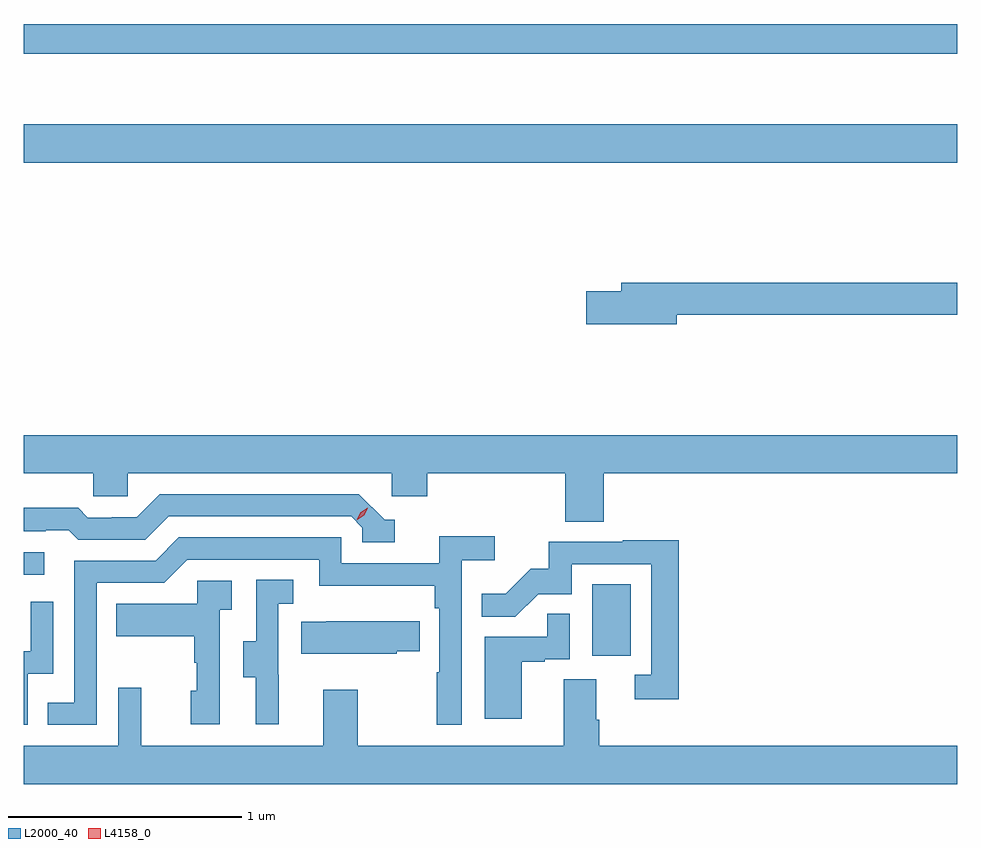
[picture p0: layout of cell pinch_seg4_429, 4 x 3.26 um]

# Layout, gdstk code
import gdstk
lib = gdstk.Library(unit=1e-6, precision=1e-09)
def R(c, l, rs):  # rectangles x0, y0, x1, y1
    for r in rs: c.add(gdstk.rectangle(r[:2], r[2:], *l))
def P(c, l, *ps):  # polygons
    for p in ps: c.add(gdstk.Polygon(p, *l))
L2000_40 = (2000, 40)
L4158_0 = (4158, 0)

pinch_seg4_429 = lib.new_cell('pinch_seg4_429')
R(pinch_seg4_429, L2000_40, [(917.276,777.39,917.44,777.697), (914.839,777.738,914.926,777.834), (914.839,779.504,918.839,779.668), (914.839,779.97,918.839,780.098)])
P(pinch_seg4_429, L2000_40, [(917.638,778.852),(918.839,778.852),(918.839,778.988),(917.399,778.988),(917.399,778.952),(917.25,778.952),(917.25,778.81),(917.638,778.81)],
  [(917.324,778.172),(918.839,778.172),(918.839,778.336),(914.839,778.336),(914.839,778.172),(915.135,778.172),(915.135,778.074),(915.285,778.074),(915.285,778.172),(916.416,778.172),(916.416,778.074),(916.568,778.074),(916.568,778.172),(917.159,778.172),(917.159,777.964),(917.324,777.964)],
  [(916.429,777.972),(916.386,777.972),(916.275,778.083),(915.422,778.083),(915.323,777.984),(915.216,777.984),(915.216,777.981),(915.113,777.981),(915.071,778.024),(914.839,778.024),(914.839,777.924),(914.933,777.924),(914.933,777.927),(915.032,777.927),(915.071,777.888),(915.36,777.888),(915.459,777.987),(916.242,777.987),(916.29,777.939),(916.29,777.876),(916.429,777.876)],
  [(915.15,777.702),(915.441,777.702),(915.54,777.801),(916.104,777.801),(916.104,777.689),(916.6,777.689),(916.6,777.593),(916.62,777.593),(916.62,777.32),(916.608,777.32),(916.608,777.093),(916.716,777.093),(916.716,777.8),(916.858,777.8),(916.858,777.902),(916.619,777.902),(916.619,777.786),(916.2,777.786),(916.2,777.897),(915.503,777.897),(915.404,777.798),(915.054,777.798),(915.054,777.189),(914.941,777.189),(914.941,777.093),(915.15,777.093)],
  [(917.645,777.884),(917.407,777.884),(917.407,777.879),(917.089,777.879),(917.089,777.762),(917.012,777.762),(916.905,777.655),(916.801,777.655),(916.801,777.556),(916.945,777.556),(917.043,777.654),(917.187,777.654),(917.187,777.783),(917.529,777.783),(917.529,777.309),(917.457,777.309),(917.457,777.204),(917.645,777.204)],
  [(915.932,777.309),(915.93,777.309),(915.93,777.613),(915.994,777.613),(915.994,777.716),(915.834,777.716),(915.834,777.453),(915.779,777.453),(915.779,777.298),(915.833,777.298),(915.833,777.096),(915.932,777.096)],
  [(915.678,777.587),(915.73,777.587),(915.73,777.711),(915.582,777.711),(915.582,777.613),(915.235,777.613),(915.235,777.473),(915.57,777.473),(915.57,777.359),(915.58,777.359),(915.58,777.24),(915.554,777.24),(915.554,777.096),(915.678,777.096)],
  [(914.856,777.312),(914.964,777.312),(914.964,777.622),(914.868,777.622),(914.868,777.41),(914.839,777.41),(914.839,777.093),(914.856,777.093)],
  [(916.972,777.363),(917.072,777.363),(917.072,777.375),(917.178,777.375),(917.178,777.569),(917.083,777.569),(917.083,777.471),(916.814,777.471),(916.814,777.12),(916.972,777.12)],
  [(916.437,777.409),(916.535,777.409),(916.535,777.538),(916.135,777.538),(916.135,777.535),(916.027,777.535),(916.027,777.398),(916.437,777.398)],
  [(918.839,777.004),(917.306,777.004),(917.306,777.116),(917.293,777.116),(917.293,777.29),(917.153,777.29),(917.153,777.004),(916.269,777.004),(916.269,777.244),(916.121,777.244),(916.121,777.004),(915.341,777.004),(915.341,777.253),(915.243,777.253),(915.243,777.004),(914.839,777.004),(914.839,776.84),(918.839,776.84)])
P(pinch_seg4_429, L4158_0, [(916.266,777.972),(916.266,777.973),(916.282,778.005),(916.313,778.025),(916.313,778.025),(916.313,778.025),(916.297,777.992),(916.267,777.972)])

lib.write_gds('pinch_seg4_429.gds')
